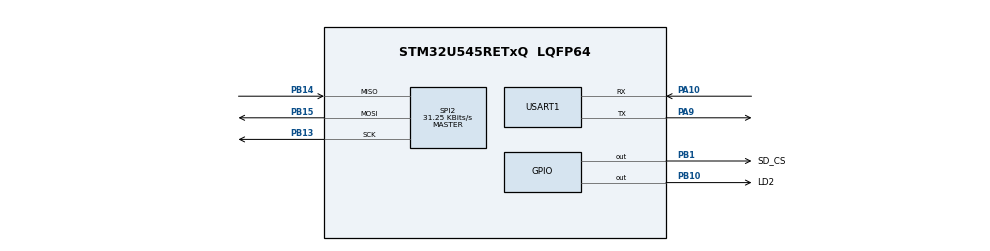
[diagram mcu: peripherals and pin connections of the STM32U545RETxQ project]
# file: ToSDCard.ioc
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CORTEX_M33_NS.userName=CORTEX_M33
Mcu.Family=STM32U5
Mcu.Name=STM32U545RETxQ
Mcu.Package=LQFP64
NVIC.PriorityGroup=NVIC_PRIORITYGROUP_4
NVIC.SPI2_IRQn=true\:0\:0\:false\:false\:true\:true\:true\:true
PA10.Mode=Asynchronous
PA10.Signal=USART1_RX
PA2.Signal=LPUART1_TX
PA3.Signal=LPUART1_RX
PA9.Mode=Asynchronous
PA9.Signal=USART1_TX
PB1.GPIO_Label=SD_CS
PB1.Signal=GPIO_Output
PB10.GPIO_Label=LD2
PB10.Signal=GPIO_Output
PB13.Mode=Full_Duplex_Master
PB13.Signal=SPI2_SCK
PB14.Mode=Full_Duplex_Master
PB14.Signal=SPI2_MISO
PB15.Mode=Full_Duplex_Master
PB15.Signal=SPI2_MOSI
PWR.PowerMode=PWR_SMPS_SUPPLY
ProjectManager.HeapSize=0x200
ProjectManager.StackSize=0x400
ProjectManager.TargetToolchain=STM32CubeIDE
RCC.ADCFreq_Value=16000000
RCC.DACCLockSelectionVirtual=RCC_DAC1CLKSOURCE_LSI
RCC.DACCLockSelectionVirtualString=RCC_DAC1CLKSOURCE_LSI
RCC.EPOD_VALUE=4000000
RCC.HSE_VALUE=16000000
RCC.HSI48_VALUE=48000000
RCC.HSI_VALUE=16000000
RCC.LSE_VALUE=32768
RCC.LSIDIV_VALUE=32000
RCC.MSI_VALUE=4000000
RCC.USBFreq_Value=48000000
RCC.VCOOutputFreq_Value=516000000
RTC.Date=24
RTC.Format=RTC_FORMAT_BIN
RTC.Hours=0
RTC.Minutes=51
RTC.Month=RTC_MONTH_MARCH
RTC.WeekDay=RTC_WEEKDAY_MONDAY
RTC.Year=25
SPI2.BaudRatePrescaler=SPI_BAUDRATEPRESCALER_128
SPI2.CLKPolarity=SPI_POLARITY_LOW
SPI2.CalculateBaudRate=31.25 KBits/s
SPI2.Direction=SPI_DIRECTION_2LINES
SPI2.Mode=SPI_MODE_MASTER
SPI2.VirtualType=VM_MASTER
USART1.VirtualMode-Asynchronous=VM_ASYNC
VP_FILEX_VS_FileOoSystemJjFileXJjCore.Mode=FileX_Core
VP_LPBAMQUEUE_VS_QUEUE.Mode=QUEUEMODE
VP_LPBAM_VS_SIG1.Mode=SmartRun
VP_LPBAM_VS_SIG4.Mode=LPDMA1
VP_MEMORYMAP_VS_MEMORYMAP.Mode=CurAppReg
VP_PWR_VS_LPOM.Mode=PowerOptimisation
VP_PWR_VS_SECSignals.Mode=Security/Privilege
VP_RTC_VS_RTC_Activate.Mode=RTC_Enabled
VP_RTC_VS_RTC_Calendar.Mode=RTC_Calendar
board=custom

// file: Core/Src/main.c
/* USER CODE BEGIN Header */
/**
  ******************************************************************************
  * @file           : main.c
  * @brief          : Main program body
  ******************************************************************************
  * @attention
  *
  * Copyright (c) 2025 STMicroelectronics.
  * All rights reserved.
  *
  * This software is licensed under terms that can be found in the LICENSE file
  * in the root directory of this software component.
  * If no LICENSE file comes with this software, it is provided AS-IS.
  *
  ******************************************************************************
  */
/* USER CODE END Header */
#include "main.h"
#include "app_filex.h"

/* USER CODE BEGIN Includes */
#include "ff.h"
#include <stdio.h>
#include <string.h>
#include <stdarg.h>

#include "stm32u5xx_hal.h"
/* USER CODE END Includes */

RTC_HandleTypeDef hrtc;

SPI_HandleTypeDef hspi2;

UART_HandleTypeDef huart1;

/* USER CODE BEGIN PV */
char RTCBuffer [100];

/* USER CODE END PV */

void SystemClock_Config(void);
static void SystemPower_Config(void);
static void MX_GPIO_Init(void);
static void MX_SPI2_Init(void);
static void MX_RTC_Init(void);
static void MX_USART1_UART_Init(void);

/* USER CODE BEGIN 0 */

void myprintf(const char * fmt, ...){

	static char buffer[256];

	va_list args;

	va_start(args, fmt);

	vsnprintf(buffer, sizeof(buffer), fmt, args);

	va_end(args);

//	int len = strlen(buffer);

	HAL_UART_Transmit(&huart1, (uint8_t*)buffer, strlen(buffer), HAL_MAX_DELAY);
}

void SPI2_Init(void){
	__HAL_RCC_SPI2_CLK_ENABLE();

	hspi2.Instance = SPI2;
	hspi2.Init.Mode = SPI_MODE_MASTER;           // Tryb master
	hspi2.Init.Direction = SPI_DIRECTION_2LINES; // Kierunek danych
	hspi2.Init.DataSize = SPI_DATASIZE_8BIT;     // Rozmiar danych
    hspi2.Init.CLKPolarity = SPI_POLARITY_LOW;   // Polaryzacja zegara
    hspi2.Init.CLKPhase = SPI_PHASE_1EDGE;       // Fazowanie zegara
    hspi2.Init.NSS = SPI_NSS_SOFT;               // Zarządzanie NSS
    hspi2.Init.BaudRatePrescaler = SPI_BAUDRATEPRESCALER_128; // Preskaler zegara
    hspi2.Init.FirstBit = SPI_FIRSTBIT_MSB;      // Pierwszy bit
    hspi2.Init.TIMode = SPI_TIMODE_DISABLE;      // Tryb TI wyłączony
    hspi2.Init.CRCCalculation = SPI_CRCCALCULATION_DISABLE; // CRC wyłączone
    hspi2.Init.CRCPolynomial = 7;                // Wartość CRC

    if(HAL_SPI_Init(&hspi2) != HAL_OK){
    	myprintf("Error with initialization");
    	while(1){}

    }else{
    	myprintf("Initialization - OK \r\n");
    }
}

uint8_t SPI2_ISReady(void){
	if (__HAL_SPI_GET_FLAG(&hspi2, SPI_FLAG_TXP) &&
	    __HAL_SPI_GET_FLAG(&hspi2, SPI_FLAG_RXP) &&
	    !__HAL_SPI_GET_FLAG(&hspi2, SPI_FLAG_EOT)) {
	    return 1;  // SPI2 gotowe
	}
	return 0;
}

/* USER CODE END 0 */

int main(void)
{

  /* MCU Configuration--------------------------------------------------------*/

  /* Reset of all peripherals, Initializes the Flash interface and the Systick. */
  HAL_Init();

  /* Configure the System Power */
  SystemPower_Config();

  /* Configure the system clock */
  SystemClock_Config();

  /* Initialize all configured peripherals */
  MX_GPIO_Init();
  MX_SPI2_Init();
  MX_RTC_Init();
  MX_USART1_UART_Init();
  MX_FileX_Init();
  /* USER CODE BEGIN 2 */

  // Useful in RTC spike code
  RTC_TimeTypeDef sTime;
  RTC_DateTypeDef sDate;

//  HAL_UART_Transmit(&huart1, (uint8_t *)"Hello World\r\n", 20, HAL_MAX_DELAY);

  //Spike code of getting current time from embeded RTC

  //FATFs variables
    FATFS FATFileSystem;
    FIL file;
    FRESULT fileResult;

    //File system initialization
    fileResult = f_mount(&FATFileSystem, "",1);

    if(fileResult != FR_OK){

  	  myprintf("Error during file mount (%i)\r\n", fileResult);

  	  while(1);
    }

    DWORD free_clusters, free_sectors, total_sectors;

    FATFS* getFreeFs;

    fileResult = f_getfree("", &free_clusters, &getFreeFs);

    if (fileResult != FR_OK){
  	  myprintf("f_getfree error (%i)\r\n", fileResult);
  	  while(1);
    }

    total_sectors = (getFreeFs->n_fatent - 2) * getFreeFs->csize;
    free_sectors = free_clusters * getFreeFs->csize;

    myprintf("SD card stats:\r\n%10lu KiB total drive space.\r\n%10lu KiB available.\r\n", total_sectors / 2, free_sectors / 2);

    fileResult = f_open(&file, "test.txt", FA_READ);
    if(fileResult != FR_OK){
  	  myprintf("f_open error (%i)\r\n", fileResult);
  	  while(1);
    }

    myprintf("I was able to open \r\n");

    BYTE readBuffor[30];

    //Read
  //  TCHAR* rres = f_gets((TCHAR*)readBuffor, 30, &file);
  //  if(rres != 0){
  //	  myprintf("Read string from test.txt,", readBuffor);
  //  }else{
  //	  myprintf("g_gets error \r\n", fileResult);
  //  }

    //close
    f_close(&file);

    //Open and write string to file
    fileResult = f_open(&file, "write.txt", FA_WRITE | FA_OPEN_ALWAYS | FA_CREATE_ALWAYS);
    if(fileResult == FR_OK){
  	  myprintf("File opened successfully \r\n");
    }else{
  	  myprintf("Error during opening output file \r\n", fileResult);
    }

    strncpy((char*)readBuffor, "Hello", 5);

    UINT bytesWrote;

    fileResult = f_write(&file, readBuffor, 5, &bytesWrote);

    if(fileResult == FR_OK){
  	  myprintf("Wrote %i bytes to output file \r\n", bytesWrote);
    }else{
  	  myprintf("Error during writing data to output file \r\n");
    }

  //  Free
    f_close(&file);

    f_mount(NULL, "", 0);

  /* USER CODE END 2 */

  /* Infinite loop */
  while (1)
  {

    /* USER CODE BEGIN 3 */

	  if(SPI2_ISReady()){
		  myprintf("SPI2 is ready!");
	  }else{
		  myprintf("SPI2 is not ready!");
	  }

//	  HAL_UART_Transmit(&huart1, (uint8_t *)"Hello World\r\n", 20, HAL_MAX_DELAY);
	  HAL_RTC_GetTime(&hrtc, &sTime, RTC_FORMAT_BIN);

	   HAL_RTC_GetDate(&hrtc, &sDate, RTC_FORMAT_BIN);

	   snprintf(RTCBuffer, sizeof(RTCBuffer), "Time:%02d:%02d:%02d\r\n",
	  		 sTime.Hours,
	  		 sTime.Minutes,
	  		 sTime.Seconds
	  		 );

	   HAL_UART_Transmit(&huart1, (uint8_t*)RTCBuffer, strlen(RTCBuffer), HAL_MAX_DELAY);
	   HAL_Delay(1000);
  }
  /* USER CODE END 3 */
}

void SystemClock_Config(void)
{
  RCC_OscInitTypeDef RCC_OscInitStruct = {0};
  RCC_ClkInitTypeDef RCC_ClkInitStruct = {0};

  /** Configure the main internal regulator output voltage
  */
  if (HAL_PWREx_ControlVoltageScaling(PWR_REGULATOR_VOLTAGE_SCALE4) != HAL_OK)
  {
    Error_Handler();
  }

  /** Initializes the CPU, AHB and APB buses clocks
  */
  RCC_OscInitStruct.OscillatorType = RCC_OSCILLATORTYPE_LSI|RCC_OSCILLATORTYPE_MSI;
  RCC_OscInitStruct.LSIState = RCC_LSI_ON;
  RCC_OscInitStruct.MSIState = RCC_MSI_ON;
  RCC_OscInitStruct.MSICalibrationValue = RCC_MSICALIBRATION_DEFAULT;
  RCC_OscInitStruct.MSIClockRange = RCC_MSIRANGE_4;
  RCC_OscInitStruct.LSIDiv = RCC_LSI_DIV1;
  RCC_OscInitStruct.PLL.PLLState = RCC_PLL_NONE;
  if (HAL_RCC_OscConfig(&RCC_OscInitStruct) != HAL_OK)
  {
    Error_Handler();
  }

  /** Initializes the CPU, AHB and APB buses clocks
  */
  RCC_ClkInitStruct.ClockType = RCC_CLOCKTYPE_HCLK|RCC_CLOCKTYPE_SYSCLK
                              |RCC_CLOCKTYPE_PCLK1|RCC_CLOCKTYPE_PCLK2
                              |RCC_CLOCKTYPE_PCLK3;
  RCC_ClkInitStruct.SYSCLKSource = RCC_SYSCLKSOURCE_MSI;
  RCC_ClkInitStruct.AHBCLKDivider = RCC_SYSCLK_DIV1;
  RCC_ClkInitStruct.APB1CLKDivider = RCC_HCLK_DIV1;
  RCC_ClkInitStruct.APB2CLKDivider = RCC_HCLK_DIV1;
  RCC_ClkInitStruct.APB3CLKDivider = RCC_HCLK_DIV1;

  if (HAL_RCC_ClockConfig(&RCC_ClkInitStruct, FLASH_LATENCY_0) != HAL_OK)
  {
    Error_Handler();
  }
}

/**
  * @brief Power Configuration
  * @retval None
  */
static void SystemPower_Config(void)
{

  /*
   * Switch to SMPS regulator instead of LDO
   */
  if (HAL_PWREx_ConfigSupply(PWR_SMPS_SUPPLY) != HAL_OK)
  {
    Error_Handler();
  }
}

static void MX_RTC_Init(void)
{

  RTC_PrivilegeStateTypeDef privilegeState = {0};
  RTC_TimeTypeDef sTime = {0};
  RTC_DateTypeDef sDate = {0};

  /** Initialize RTC Only
  */
  hrtc.Instance = RTC;
  hrtc.Init.HourFormat = RTC_HOURFORMAT_24;
  hrtc.Init.AsynchPrediv = 127;
  hrtc.Init.SynchPrediv = 255;
  hrtc.Init.OutPut = RTC_OUTPUT_DISABLE;
  hrtc.Init.OutPutRemap = RTC_OUTPUT_REMAP_NONE;
  hrtc.Init.OutPutPolarity = RTC_OUTPUT_POLARITY_HIGH;
  hrtc.Init.OutPutType = RTC_OUTPUT_TYPE_OPENDRAIN;
  hrtc.Init.OutPutPullUp = RTC_OUTPUT_PULLUP_NONE;
  hrtc.Init.BinMode = RTC_BINARY_NONE;
  if (HAL_RTC_Init(&hrtc) != HAL_OK)
  {
    Error_Handler();
  }
  privilegeState.rtcPrivilegeFull = RTC_PRIVILEGE_FULL_NO;
  privilegeState.backupRegisterPrivZone = RTC_PRIVILEGE_BKUP_ZONE_NONE;
  privilegeState.backupRegisterStartZone2 = RTC_BKP_DR0;
  privilegeState.backupRegisterStartZone3 = RTC_BKP_DR0;
  if (HAL_RTCEx_PrivilegeModeSet(&hrtc, &privilegeState) != HAL_OK)
  {
    Error_Handler();
  }

  /** Initialize RTC and set the Time and Date
  */
  sTime.Hours = 0;
  sTime.Minutes = 51;
  sTime.Seconds = 0;
  sTime.DayLightSaving = RTC_DAYLIGHTSAVING_NONE;
  sTime.StoreOperation = RTC_STOREOPERATION_RESET;
  if (HAL_RTC_SetTime(&hrtc, &sTime, RTC_FORMAT_BIN) != HAL_OK)
  {
    Error_Handler();
  }
  sDate.WeekDay = RTC_WEEKDAY_MONDAY;
  sDate.Month = RTC_MONTH_MARCH;
  sDate.Date = 24;
  sDate.Year = 25;

  if (HAL_RTC_SetDate(&hrtc, &sDate, RTC_FORMAT_BIN) != HAL_OK)
  {
    Error_Handler();
  }

}

static void MX_SPI2_Init(void)
{

  SPI_AutonomousModeConfTypeDef HAL_SPI_AutonomousMode_Cfg_Struct = {0};

  /* SPI2 parameter configuration*/
  hspi2.Instance = SPI2;
  hspi2.Init.Mode = SPI_MODE_MASTER;
  hspi2.Init.Direction = SPI_DIRECTION_2LINES;
  hspi2.Init.DataSize = SPI_DATASIZE_4BIT;
  hspi2.Init.CLKPolarity = SPI_POLARITY_LOW;
  hspi2.Init.CLKPhase = SPI_PHASE_1EDGE;
  hspi2.Init.NSS = SPI_NSS_SOFT;
  hspi2.Init.BaudRatePrescaler = SPI_BAUDRATEPRESCALER_128;
  hspi2.Init.FirstBit = SPI_FIRSTBIT_MSB;
  hspi2.Init.TIMode = SPI_TIMODE_DISABLE;
  hspi2.Init.CRCCalculation = SPI_CRCCALCULATION_DISABLE;
  hspi2.Init.CRCPolynomial = 0x7;
  hspi2.Init.NSSPMode = SPI_NSS_PULSE_ENABLE;
  hspi2.Init.NSSPolarity = SPI_NSS_POLARITY_LOW;
  hspi2.Init.FifoThreshold = SPI_FIFO_THRESHOLD_01DATA;
  hspi2.Init.MasterSSIdleness = SPI_MASTER_SS_IDLENESS_00CYCLE;
  hspi2.Init.MasterInterDataIdleness = SPI_MASTER_INTERDATA_IDLENESS_00CYCLE;
  hspi2.Init.MasterReceiverAutoSusp = SPI_MASTER_RX_AUTOSUSP_DISABLE;
  hspi2.Init.MasterKeepIOState = SPI_MASTER_KEEP_IO_STATE_DISABLE;
  hspi2.Init.IOSwap = SPI_IO_SWAP_DISABLE;
  hspi2.Init.ReadyMasterManagement = SPI_RDY_MASTER_MANAGEMENT_INTERNALLY;
  hspi2.Init.ReadyPolarity = SPI_RDY_POLARITY_HIGH;
  if (HAL_SPI_Init(&hspi2) != HAL_OK)
  {
    Error_Handler();
  }
  HAL_SPI_AutonomousMode_Cfg_Struct.TriggerState = SPI_AUTO_MODE_DISABLE;
  HAL_SPI_AutonomousMode_Cfg_Struct.TriggerSelection = SPI_GRP1_GPDMA_CH0_TCF_TRG;
  HAL_SPI_AutonomousMode_Cfg_Struct.TriggerPolarity = SPI_TRIG_POLARITY_RISING;
  if (HAL_SPIEx_SetConfigAutonomousMode(&hspi2, &HAL_SPI_AutonomousMode_Cfg_Struct) != HAL_OK)
  {
    Error_Handler();
  }

}

static void MX_USART1_UART_Init(void)
{

  huart1.Instance = USART1;
  huart1.Init.BaudRate = 115200;
  huart1.Init.WordLength = UART_WORDLENGTH_8B;
  huart1.Init.StopBits = UART_STOPBITS_1;
  huart1.Init.Parity = UART_PARITY_NONE;
  huart1.Init.Mode = UART_MODE_TX_RX;
  huart1.Init.HwFlowCtl = UART_HWCONTROL_NONE;
  huart1.Init.OverSampling = UART_OVERSAMPLING_16;
  huart1.Init.OneBitSampling = UART_ONE_BIT_SAMPLE_DISABLE;
  huart1.Init.ClockPrescaler = UART_PRESCALER_DIV1;
  huart1.AdvancedInit.AdvFeatureInit = UART_ADVFEATURE_NO_INIT;
  if (HAL_UART_Init(&huart1) != HAL_OK)
  {
    Error_Handler();
  }
  if (HAL_UARTEx_SetTxFifoThreshold(&huart1, UART_TXFIFO_THRESHOLD_1_8) != HAL_OK)
  {
    Error_Handler();
  }
  if (HAL_UARTEx_SetRxFifoThreshold(&huart1, UART_RXFIFO_THRESHOLD_1_8) != HAL_OK)
  {
    Error_Handler();
  }
  if (HAL_UARTEx_DisableFifoMode(&huart1) != HAL_OK)
  {
    Error_Handler();
  }

}

static void MX_GPIO_Init(void)
{
  GPIO_InitTypeDef GPIO_InitStruct = {0};

  /* GPIO Ports Clock Enable */
  __HAL_RCC_GPIOA_CLK_ENABLE();
  __HAL_RCC_GPIOB_CLK_ENABLE();

  /*Configure GPIO pin Output Level */
  HAL_GPIO_WritePin(GPIOB, SD_CS_Pin|LD2_Pin, GPIO_PIN_RESET);

  /*Configure GPIO pins : PA2 PA3 */
  GPIO_InitStruct.Pin = GPIO_PIN_2|GPIO_PIN_3;
  GPIO_InitStruct.Mode = GPIO_MODE_AF_PP;
  GPIO_InitStruct.Pull = GPIO_NOPULL;
  GPIO_InitStruct.Speed = GPIO_SPEED_FREQ_LOW;
  GPIO_InitStruct.Alternate = GPIO_AF8_LPUART1;
  HAL_GPIO_Init(GPIOA, &GPIO_InitStruct);

  /*Configure GPIO pins : SD_CS_Pin LD2_Pin */
  GPIO_InitStruct.Pin = SD_CS_Pin|LD2_Pin;
  GPIO_InitStruct.Mode = GPIO_MODE_OUTPUT_PP;
  GPIO_InitStruct.Pull = GPIO_NOPULL;
  GPIO_InitStruct.Speed = GPIO_SPEED_FREQ_LOW;
  HAL_GPIO_Init(GPIOB, &GPIO_InitStruct);

}

void Error_Handler(void)
{
  __disable_irq();
  while (1)
  {
  }
}
